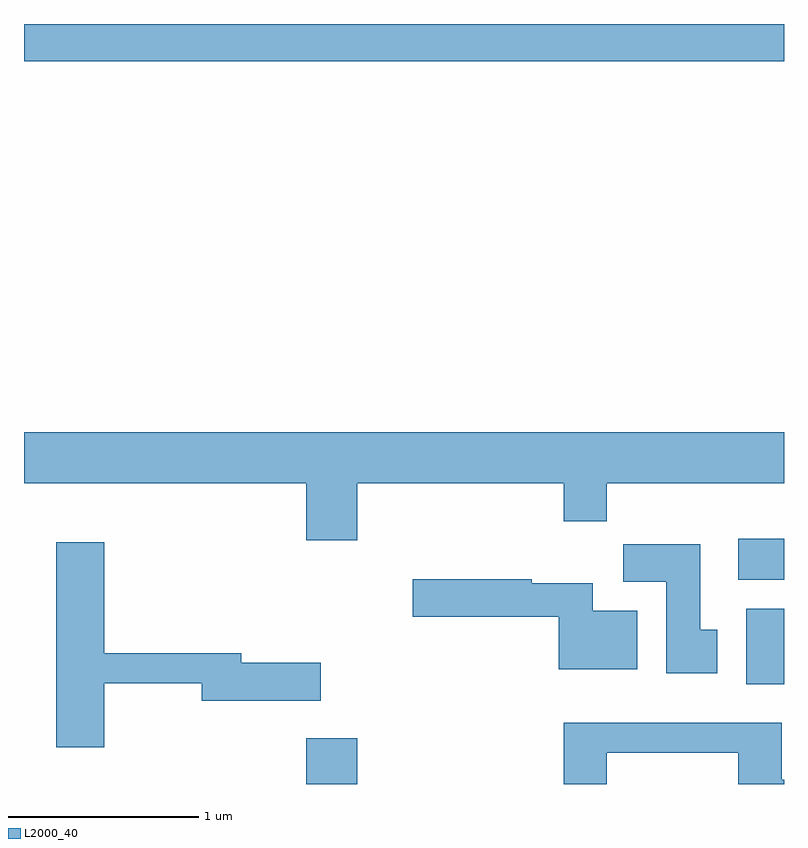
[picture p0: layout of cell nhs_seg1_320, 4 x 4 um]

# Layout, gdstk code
import gdstk
lib = gdstk.Library(unit=1e-6, precision=1e-09)
def R(c, l, rs):  # rectangles x0, y0, x1, y1
    for r in rs: c.add(gdstk.rectangle(r[:2], r[2:], *l))
def P(c, l, *ps):  # polygons
    for p in ps: c.add(gdstk.Polygon(p, *l))
L2000_40 = (2000, 40)

nhs_seg1_320 = lib.new_cell('nhs_seg1_320')
R(nhs_seg1_320, L2000_40, [(195.096,955.712,195.364,955.954), (197.411,956.236,197.611,956.634), (197.371,956.786,197.611,957.004), (193.611,959.516,197.611,959.712)])
P(nhs_seg1_320, L2000_40, [(195.364,957.296),(196.451,957.296),(196.451,957.096),(196.679,957.096),(196.679,957.296),(197.611,957.296),(197.611,957.564),(193.611,957.564),(193.611,957.296),(195.096,957.296),(195.096,956.996),(195.364,956.996)],
  [(194.034,956.241),(194.546,956.241),(194.546,956.151),(195.174,956.151),(195.174,956.349),(194.754,956.349),(194.754,956.399),(194.034,956.399),(194.034,956.984),(193.781,956.984),(193.781,955.906),(194.034,955.906)],
  [(197.259,956.524),(197.169,956.524),(197.169,956.974),(196.766,956.974),(196.766,956.776),(196.991,956.776),(196.991,956.296),(197.259,956.296)],
  [(196.839,956.624),(196.604,956.624),(196.604,956.769),(196.284,956.769),(196.284,956.789),(195.656,956.789),(195.656,956.591),(196.426,956.591),(196.426,956.316),(196.839,956.316)],
  [(196.679,955.876),(197.371,955.876),(197.371,955.712),(197.611,955.712),(197.611,955.734),(197.599,955.734),(197.599,956.034),(196.451,956.034),(196.451,955.712),(196.679,955.712)])

lib.write_gds('nhs_seg1_320.gds')
